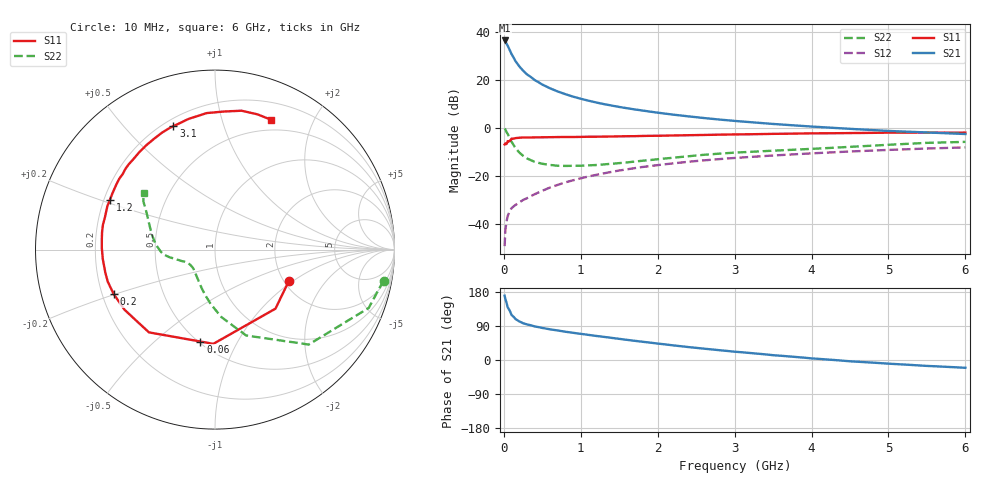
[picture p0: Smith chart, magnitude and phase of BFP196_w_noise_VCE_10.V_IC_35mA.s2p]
! Infineon Technologies  Discrete & RF Semiconductors
! BFP196
! VCE =  10. V,  IC =  35 mA
! Common Emitter S-Parameters:  Jan 2017
# GHz  S  MA  R  50
!  f  S11  S21  S12  S22
! GHz  MAG  ANG  MAG  ANG  MAG  ANG  MAG  ANG
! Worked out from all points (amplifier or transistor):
!   77 points, 10 MHz to 6 GHz, reference 50 ohm
!   highest |S21| = 36.3 dB at 10 MHz (marker M1)
!   |S21| within 3 dB of that: start of sweep to 62.06 MHz
!   unconditionally stable (mu >= 1): 669.3 MHz to 2.382 GHz
!   at 130 MHz: K = 0.50, MSG = 30.9 dB, |S12| = -32.7 dB
!   at 2.2 GHz: K = 1.01, MAG = 9.5 dB, |S12| = -14.9 dB
!   at 6 GHz: K = 0.93, MSG = 2.8 dB, |S12| = -8.2 dB
!   lowest NFmin = 1.28 dB at 450 MHz
!   S11 on the Smith chart (normalised r, x): 10 MHz: 2.13, -0.92; 60 MHz: 0.51, -0.72; 200 MHz: 0.25, -0.20; 1.2 GHz: 0.22, +0.21; 3.1 GHz: 0.24, +0.69; 6 GHz: 0.38, +1.45
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0.01  0.447 -22.9  65.52 169.8  0.0034 76.8  0.9545 -10.4
0.02  0.471 -44.3  63.44 160.8  0.0075 74.7  0.916 -20.8
0.05  0.5251 -91.0  50.85 138.8  0.0145 59.5  0.7431 -45.4
0.06  0.5186 -99.0  47.15 135.9  0.0158 57.3  0.6882 -48.9
0.1  0.59 -128.6  34.12 118.6  0.021 51.4  0.5087 -70.1
0.15  0.6051 -146.3  24.52 108.3  0.0245 48.6  0.3781 -84.5
0.2  0.6163 -156.2  18.98 101.9  0.0275 50.5  0.3046 -94.5
0.25  0.6236 -163.3  15.4 97.1  0.0312 52.8  0.2593 -102.1
0.3  0.6245 -168.1  12.93 94.0  0.0339 55.2  0.2286 -108.8
0.4  0.6274 -175.3  9.834 88.6  0.041 58.4  0.1942 -118.7
0.5  0.6307 179.2  7.893 84.6  0.0485 60.0  0.1769 -126.4
0.6  0.6333 174.6  6.613 81.0  0.0566 61.3  0.1675 -132.9
0.7  0.6369 171.0  5.676 77.9  0.0642 62.5  0.161 -137.7
0.9  0.6389 163.9  4.426 71.8  0.0801 62.7  0.1605 -144.8
1.1  0.647 157.8  3.648 66.3  0.0963 61.9  0.1638 -150.2
1.2  0.6476 154.8  3.348 63.5  0.1039 61.5  0.1666 -152.5
1.6  0.6636 143.4  2.541 53.2  0.1355 57.7  0.1885 -159.7
2.1  0.6821 130.2  1.958 41.1  0.173 52.1  0.2282 -166.7
3.1  0.7258 108.6  1.342 20.3  0.2394 39.6  0.3075 -179.3
4.1  0.7629 91.9  1.032 2.9  0.2968 28.1  0.3684 164.7
5.1  0.7874 77.9  0.842 -10.8  0.3484 16.5  0.4482 149.7
6  0.788 66.8  0.737 -20.6  0.3884 6.5  0.5057 141.7
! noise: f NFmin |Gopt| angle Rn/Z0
0.45  1.28  0.35  173  0.05
0.9  1.44  0.45  -169  0.07
1.9  2.27  0.68  -134  0.27
2.4  2.68  0.71  -121  0.61
